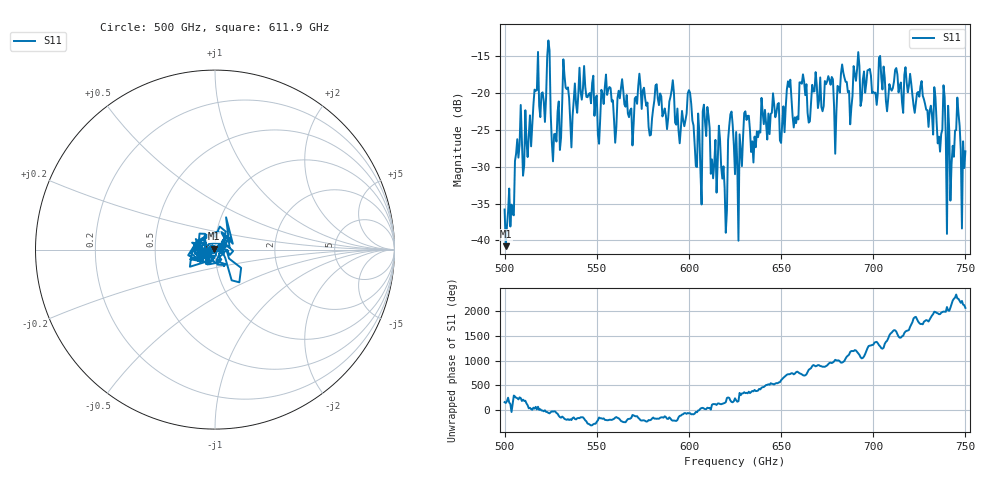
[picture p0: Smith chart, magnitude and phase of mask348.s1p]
!Created with skrf (http://scikit-rf.org).
# GHz S MA R 50.0
!freq magS11 angS11
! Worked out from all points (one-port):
!   401 points, 500 GHz to 750 GHz, reference 50 ohm
!   lowest |S11| = -40.8 dB at 500.6 GHz (marker M1), VSWR 1.02, Z = 49.2 + j0.48 ohm
!   |S11| at or under -10 dB: start of sweep to end of sweep
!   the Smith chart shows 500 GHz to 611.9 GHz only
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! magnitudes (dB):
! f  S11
! 500 GHz  -35.8
! 500.6 GHz  -40.8
! 516.9 GHz  -19.7
! 520.6 GHz  -19.9
! 523.8 GHz  -12.9
! 526.9 GHz  -25.6
! 531.2 GHz  -21.3
! 562.5 GHz  -20.7
! 579.4 GHz  -25.7
! 590.6 GHz  -19.6
! 593.8 GHz  -22.1
! 600.6 GHz  -20.0
! 605.6 GHz  -25.2
! 609.4 GHz  -25.8
! 619.4 GHz  -32.9
! 622.5 GHz  -22.9
! 625 GHz  -31.0
! 656.2 GHz  -23.2
! 676.9 GHz  -18.9
! 680 GHz  -22.6
! 683.8 GHz  -17.2
! 687.5 GHz  -24.2
! 690.6 GHz  -18.3
! 718.8 GHz  -19.9
! 738.1 GHz  -19.0
! 741.2 GHz  -25.1
! 745.6 GHz  -20.6
! 750 GHz  -27.9
